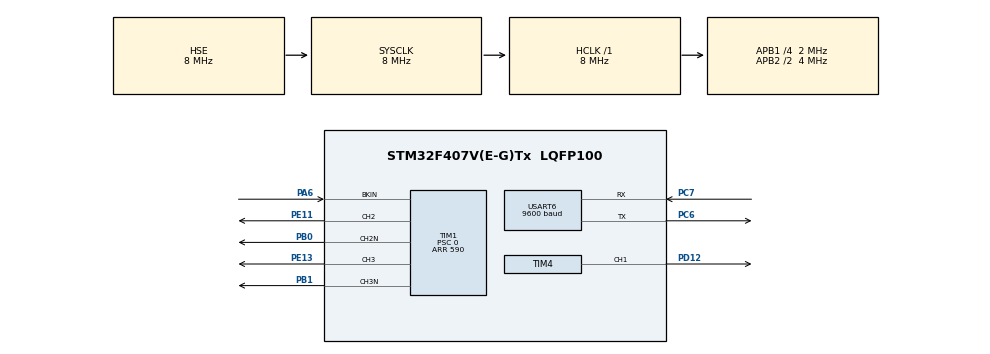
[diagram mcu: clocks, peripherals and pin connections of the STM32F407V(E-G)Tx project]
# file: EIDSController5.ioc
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Mcu.Family=STM32F4
Mcu.Name=STM32F407V(E-G)Tx
Mcu.Package=LQFP100
NVIC.PriorityGroup=NVIC_PRIORITYGROUP_4
NVIC.TIM1_BRK_TIM9_IRQn=true\:0\:0\:false\:false\:true\:true\:true\:true
NVIC.USART6_IRQn=true\:0\:0\:false\:true\:true\:1\:true\:true\:true
PA13.Mode=Serial_Wire
PA13.Signal=SYS_JTMS-SWDIO
PA14.Mode=Serial_Wire
PA14.Signal=SYS_JTCK-SWCLK
PA6.Mode=Activate-Break-Input
PA6.Signal=TIM1_BKIN
PB0.Mode=Output Compare2 CH2 CH2N
PB0.Signal=TIM1_CH2N
PB1.Mode=Output Compare3 CH3 CH3N
PB1.Signal=TIM1_CH3N
PC6.Mode=Asynchronous
PC6.Signal=USART6_TX
PC7.Mode=Asynchronous
PC7.Signal=USART6_RX
PD12.Signal=S_TIM4_CH1
PE11.Signal=S_TIM1_CH2
PE13.Signal=S_TIM1_CH3
PH0-OSC_IN.Mode=HSE-External-Oscillator
PH0-OSC_IN.Signal=RCC_OSC_IN
PH1-OSC_OUT.Mode=HSE-External-Oscillator
PH1-OSC_OUT.Signal=RCC_OSC_OUT
ProjectManager.HeapSize=0x2000
ProjectManager.StackSize=0x4000
ProjectManager.TargetToolchain=STM32CubeIDE
RCC.48MHZClocksFreq_Value=84000000
RCC.AHBFreq_Value=8000000
RCC.APB1CLKDivider=RCC_HCLK_DIV4
RCC.APB1Freq_Value=2000000
RCC.APB1TimFreq_Value=4000000
RCC.APB2CLKDivider=RCC_HCLK_DIV2
RCC.APB2Freq_Value=4000000
RCC.APB2TimFreq_Value=8000000
RCC.CortexFreq_Value=8000000
RCC.HCLKFreq_Value=8000000
RCC.HSE_VALUE=8000000
RCC.HSI_VALUE=16000000
RCC.LSE_VALUE=32768
RCC.PLLM=4
RCC.PLLN=168
RCC.PLLSourceVirtual=RCC_PLLSOURCE_HSE
RCC.SYSCLKFreq_VALUE=8000000
RCC.SYSCLKSource=RCC_SYSCLKSOURCE_HSE
RCC.VCOOutputFreq_Value=336000000
SH.S_TIM1_CH2.0=TIM1_CH2,Output Compare2 CH2 CH2N
SH.S_TIM1_CH3.0=TIM1_CH3,Output Compare3 CH3 CH3N
SH.S_TIM4_CH1.0=TIM4_CH1,PWM Generation1 CH1
TIM1.AutoReloadPreload=TIM_AUTORELOAD_PRELOAD_ENABLE
TIM1.AutomaticOutput=TIM_AUTOMATICOUTPUT_ENABLE
TIM1.BreakPolarity=TIM_BREAKPOLARITY_LOW
TIM1.Channel-Output\ Compare2\ CH2\ CH2N=TIM_CHANNEL_2
TIM1.Channel-Output\ Compare3\ CH3\ CH3N=TIM_CHANNEL_3
TIM1.DeadTime=5
TIM1.OC2Preload=ENABLE
TIM1.OC3Preload=ENABLE
TIM1.OCMode_2=TIM_OCMODE_TOGGLE
TIM1.OCMode_3=TIM_OCMODE_TOGGLE
TIM1.Period=590
TIM1.Prescaler=0
TIM1.Pulse-Output\ Compare2\ CH2\ CH2N=1
TIM1.Pulse-Output\ Compare3\ CH3\ CH3N=1
TIM4.Channel-PWM\ Generation1\ CH1=TIM_CHANNEL_1
TIM4.Period=62499
TIM4.Prescaler=127
TIM4.Pulse-PWM\ Generation1\ CH1=31250
USART6.BaudRate=9600
USART6.VirtualMode=VM_ASYNC
VP_TIM1_VS_ClockSourceINT.Mode=Internal
VP_TIM4_VS_ClockSourceINT.Mode=Internal
board=custom

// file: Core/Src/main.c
/* USER CODE BEGIN Header */
/**
  ******************************************************************************
  * @file           : main.c
  * @brief          : Main program body
  ******************************************************************************
  * @attention
  *
  * Copyright (c) 2022 STMicroelectronics.
  * All rights reserved.
  *
  * This software is licensed under terms that can be found in the LICENSE file
  * in the root directory of this software component.
  * If no LICENSE file comes with this software, it is provided AS-IS.
  *180 derece faz farkı alınabılıyor. simdilik artımsal deger otomatık fakat bunu bır encoder
  *baglanacak
  ******************************************************************************
  */
/* USER CODE END Header */
#include "main.h"
#include <nextion.h>
#include <flash.h>

/* USER CODE BEGIN PTD */
__IO ITStatus UartReady = RESET;
/* USER CODE END PTD */

/* USER CODE BEGIN PD */
#define CMD_FINISHED            (0x01)
#define EVENT_LAUNCHED          (0x88)
#define EVENT_UPGRADED          (0x89)
#define EVENT_TOUCH_HEAD            (0x65)
#define EVENT_POSITION_HEAD         (0x67)
#define EVENT_SLEEP_POSITION_HEAD   (0x68)
#define CURRENT_PAGE_ID_HEAD        (0x66)
#define STRING_HEAD                 (0x70)
#define NUMBER_HEAD                 (0x71)
#define INVALID_CMD             (0x00)
#define INVALID_COMPONENT_ID    (0x02)
#define INVALID_PAGE_ID         (0x03)
#define INVALID_PICTURE_ID      (0x04)
#define INVALID_FONT_ID         (0x05)
#define INVALID_VARIABLE        (0x1A)
#define INVALID_OPERATION       (0x1B)

 //------------------ PAGE --------------------
#define INIT_PAGE       (0x00)

// eıds projesi

#define MAIN_PAGE (0x13)  //19. SAYFA
#define TORQUE_PAGE (0x14)  //20. SAYFA
#define RPM_PAGE (0x15)  //21. SAYFA
#define PARAMETERS_PAGE (0x04)

//------------------ BUTTON --------------------
#define MENU_BUTTON       (0x01)
// AUTOMATIC MANUAL SAYFASI BUTONLARI
#define START_BUTTON      (0x02)
#define STOP_BUTTON       (0x17)
// #define RESET_BUTTON       (0x18)

 // PARAMETERS SAYFASI BUTONLARI
#define DEFAULT_BUTTON    (0x02)//
#define SAVE_BUTTON       (0x03)//
#define LOGOUT_BUTTON       (0x0C)//
//#define CANCEL_BUTTON       (0x02)//

#define RELAY1_BUTTON       (0x08)
#define RELAY2_BUTTON       (0x09)
#define RELAY3_BUTTON       (21)
#define RELAY4_BUTTON       (23)

#define OFFSET_BUTTON       (0x12)//18

// FACTORY_SETTINGS SAYFASI BUTONLARI
#define YES_BUTTON       (0x04)
#define NO_BUTTON       (0x05)

// START SAYFASI

#define PARAMETERS_BUTTON (0x08)

#define MAIN_BUTTON (0x08) // MAIN BUTON EKLENECEK GEREK YOK
#define TORQUE_BUTTON (0x01)
#define RPM_BUTTON (0x02)

#define LOGIN_BUTTON (0x02)
// KOMUTLAR
#define COMMAND_QUIT  (0x01)
#define COMMAND_START (0x02)

/* USER CODE END PD */

TIM_HandleTypeDef htim1;
TIM_HandleTypeDef htim4;

UART_HandleTypeDef huart6;

/* USER CODE BEGIN PV */

//------------------------------ flash adresleri -------------------

uint32_t RPM_Unit_address = 0x08010000;// 1
uint32_t Torque_Unit_address= 0x08010010;// 2
uint32_t Record_address = 0x08010020;//  1

// Flash kayıt parametreleri
uint32_t Fac_RPM_Unit = 1;
uint32_t Fac_Torque_Unit = 2;
uint32_t Fac_Record = 1;//

uint32_t RPM_Unit;
uint32_t Torque_Unit;
uint32_t Record;//

int countReceive;
char CurrentPage;
char CurrentButton;
char CurrentCommand;

char rx_buffer[50];
char reading_buffer[10];

int usartReceiveITEnable;
uint32_t Next_Number_Value = 0 ;

uint16_t torque;
uint16_t rpm;
uint16_t tit;
uint16_t ff;
uint16_t gop;
uint16_t eop;
uint16_t eot;
uint16_t eoq;

int count = 0;
bool nextion_command_ready = false;
bool numberHead = false;

/* USER CODE END PV */

void SystemClock_Config(void);
static void MX_GPIO_Init(void);
static void MX_TIM1_Init(void);
static void MX_TIM4_Init(void);
static void MX_USART6_UART_Init(void);
static void MX_NVIC_Init(void);
/* USER CODE BEGIN PFP */

void Flash_Read_All(void);
void Flash_Write_All(void);
void Factory_Settings_Load(void);

void user_pwm_setValue(uint16_t value);

void Clear_rx_buffer(void);
void HAL_UART_RxCpltCallback(UART_HandleTypeDef *huart);
void nextion_command_control(void);

void FN_MAIN_PAGE(void);
void FN_TORQUE_PAGE(void);
void FN_RPM_PAGE(void);

/* USER CODE END PFP */

/* USER CODE BEGIN 0 */
uint16_t pulse_value =0,periodValue=9999,periodValue2=3333,prescalerValue=3,prescalerValueOld=2;
/*
 * prescalerValue degerim ile 120derecelik açıyı sabit tutuyor ve frekansı gezdiriyorum
 * frekans araalığımı 3-200 hz arasında prescalerValue degerini ise 1-100 aralıgında gezdiriyorum
 *
 */

uint8_t break_falg =0;
uint16_t dead_value =0;
uint16_t pulse2=0,geriSayim=0;
uint32_t deneme=0;

void startPWM(void)
{
	HAL_TIM_OC_Start(&htim1,TIM_CHANNEL_2);			//OC2			enable
	HAL_TIMEx_OCN_Start(&htim1,TIM_CHANNEL_2);	//OC2N		enable

	HAL_TIM_OC_Start(&htim1,TIM_CHANNEL_3);			//OC3			enable
	HAL_TIMEx_OCN_Start(&htim1,TIM_CHANNEL_3);	//OC3N		enable
}

void stopPWM(void)
{
	HAL_TIM_OC_Stop(&htim1,TIM_CHANNEL_2);		//stop pwm output	or user function
	HAL_TIMEx_OCN_Stop(&htim1,TIM_CHANNEL_2);

	HAL_TIM_OC_Stop(&htim1,TIM_CHANNEL_3);
	HAL_TIMEx_OCN_Stop(&htim1,TIM_CHANNEL_3);
}

void pulsePWM(uint16_t pulse)
{

	HAL_Delay(500);

	if(geriSayim==0)
	{
	pulse2++;
	if(pulse2>580)
		{
		geriSayim=1;
		}
	}

	if(geriSayim==1)
	{
		pulse2-=1;//600 oluyor 700de faz takla atıyor.}
		if(pulse2<2){geriSayim=0;}
	}

	//prescalerValue=map(pulse2,0,580,1,100);
	//htim2.Init.Prescaler=prescalerValue;
	//htim3.Init.Prescaler = prescalerValue;
	//htim4.Init.Prescaler = prescalerValue;//64

	//TIM2->PSC=prescalerValue;
	//TIM3->PSC=prescalerValue;
	//TIM4->PSC=prescalerValue;
	//__HAL_TIM_SET_PRESCALER(&htim2,prescalerValue);
	//__HAL_TIM_SET_PRESCALER(&htim3,prescalerValue);
	//__HAL_TIM_SET_PRESCALER(&htim4,prescalerValue);

 if(prescalerValueOld!=prescalerValue)
 {

	  prescalerValueOld=prescalerValue;

	 // HAL_TIM_PWM_Start(&htim2, TIM_CHANNEL_1);
	 // HAL_TIM_OC_Start(&htim2, TIM_CHANNEL_2);
	 // HAL_TIM_PWM_Start(&htim3, TIM_CHANNEL_1);
	 // HAL_TIM_OC_Start(&htim3, TIM_CHANNEL_2);
    // HAL_TIM_PWM_Start(&htim4, TIM_CHANNEL_1);

	//HAL_TIM_PWM_Stop(&htim2, TIM_CHANNEL_1);
	//HAL_TIM_PWM_Stop(&htim3, TIM_CHANNEL_1);
	//HAL_TIM_PWM_Stop(&htim4, TIM_CHANNEL_1);

	 //TIM2->PSC &= 0xFF00;
	// TIM3->PSC &= 0xFF00;
	 //TIM4->PSC &= 0xFF00;

	 // MX_TIM2_Init();
	 // MX_TIM3_Init();
	 // MX_TIM4_Init();

	// TIM2->PSC=prescalerValue;
	// TIM3->PSC=prescalerValue;
	// TIM4->PSC=prescalerValue;

	//HAL_TIM_PWM_Start(&htim2, TIM_CHANNEL_1);
	//HAL_TIM_OC_Start(&htim2, TIM_CHANNEL_2);

	//HAL_TIM_PWM_Start(&htim3, TIM_CHANNEL_1);
	//HAL_TIM_OC_Start(&htim3, TIM_CHANNEL_2);

	//HAL_TIM_PWM_Start(&htim4, TIM_CHANNEL_1);
 }
	 //map(x, in_min, in_max, out_min, out_max)

	__HAL_TIM_SET_COMPARE(&htim1, TIM_CHANNEL_3, pulse2);//pulse fazın kaydırılgı yer.
}

void deadTimePWM(uint16_t dtime)
{
	/* Set TIMx_BDTR	->	DTG data	*/
	TIM1->BDTR &= 0xFF00;							//clear	DTG data
	TIM1->BDTR |= (dtime & 0x00FF);	//dtime       	//set	DTG data
}

uint16_t pwm_value=0,step=1;
uint16_t arrValue=0;
uint16_t preScalar=0,prePulse=0;
long  freqValue=8000000;
long map(long x,long in_min,long in_max,long out_min,long out_max)
{
return (x-in_min)*(out_max-out_min)/(in_max-in_min)+out_min;
//map(value,fromLow,fromHigh,toLow,toHigh);//yapıyı burda actım.
}
uint32_t Constrain(uint32_t au32_IN, uint32_t au32_MIN, uint32_t au32_MAX)
{
	if(au32_IN < au32_MIN)
	{
		return au32_MIN;
	}
	else if (au32_IN > au32_MAX)
	{
		return au32_MAX;
	}
	else
	{
		return au32_IN;
	}
}
/* USER CODE END 0 */

int main(void)
{

  /* MCU Configuration--------------------------------------------------------*/

  /* Reset of all peripherals, Initializes the Flash interface and the Systick. */
  HAL_Init();

  /* Configure the system clock */
  SystemClock_Config();

  /* Initialize all configured peripherals */
  MX_GPIO_Init();
  MX_TIM1_Init();
  MX_TIM4_Init();
  MX_USART6_UART_Init();

  /* Initialize interrupts */
  MX_NVIC_Init();
  /* USER CODE BEGIN 2 */
  __HAL_TIM_ENABLE(&htim1);										//TIM1		enable
  	startPWM();
  __HAL_TIM_ENABLE_IT(&htim1, TIM_IT_BREAK);	//break interrupt enable
  HAL_TIM_PWM_Start(&htim4, TIM_CHANNEL_1);

   Flash_Read_All();

   if(Record!=1)// boşta değeri 1 den farklı oluyor
   	{

   	// flash yazma işlemi tamam
	   Flash_Write_All();
		HAL_Delay(100);
		Flash_Read_All();
   	}

   HAL_Delay(100);
	CurrentPage = INIT_PAGE;
  	Nextion_Page(INIT_PAGE);
  	HAL_Delay(2000);
  	//BAsLANGIÇ SAYFASINA YÖNLENDİR
	HAL_Delay(100);
  	CurrentPage = MAIN_PAGE;

	HAL_UART_Receive_IT (&huart6, (uint8_t *)reading_buffer, 1);
  /* USER CODE END 2 */

  /* Infinite loop */
  /* USER CODE BEGIN WHILE */
  while (1)
  {
	    if (CurrentPage == MAIN_PAGE) {
			Nextion_Page(MAIN_PAGE);
			FN_MAIN_PAGE();//5
		} else if (CurrentPage == TORQUE_PAGE) {
			Nextion_Page(TORQUE_PAGE);
			FN_TORQUE_PAGE();//5
		} else if (CurrentPage == RPM_PAGE) {
			Nextion_Page(RPM_PAGE);
			FN_RPM_PAGE();//5
		}

    /* USER CODE END WHILE */

  }
}

void SystemClock_Config(void)
{
  RCC_OscInitTypeDef RCC_OscInitStruct = {0};
  RCC_ClkInitTypeDef RCC_ClkInitStruct = {0};

  /** Configure the main internal regulator output voltage
  */
  __HAL_RCC_PWR_CLK_ENABLE();
  __HAL_PWR_VOLTAGESCALING_CONFIG(PWR_REGULATOR_VOLTAGE_SCALE1);

  /** Initializes the RCC Oscillators according to the specified parameters
  * in the RCC_OscInitTypeDef structure.
  */
  RCC_OscInitStruct.OscillatorType = RCC_OSCILLATORTYPE_HSE;
  RCC_OscInitStruct.HSEState = RCC_HSE_ON;
  RCC_OscInitStruct.PLL.PLLState = RCC_PLL_NONE;
  if (HAL_RCC_OscConfig(&RCC_OscInitStruct) != HAL_OK)
  {
    Error_Handler();
  }

  /** Initializes the CPU, AHB and APB buses clocks
  */
  RCC_ClkInitStruct.ClockType = RCC_CLOCKTYPE_HCLK|RCC_CLOCKTYPE_SYSCLK
                              |RCC_CLOCKTYPE_PCLK1|RCC_CLOCKTYPE_PCLK2;
  RCC_ClkInitStruct.SYSCLKSource = RCC_SYSCLKSOURCE_HSE;
  RCC_ClkInitStruct.AHBCLKDivider = RCC_SYSCLK_DIV1;
  RCC_ClkInitStruct.APB1CLKDivider = RCC_HCLK_DIV4;
  RCC_ClkInitStruct.APB2CLKDivider = RCC_HCLK_DIV2;

  if (HAL_RCC_ClockConfig(&RCC_ClkInitStruct, FLASH_LATENCY_0) != HAL_OK)
  {
    Error_Handler();
  }
}

/**
  * @brief NVIC Configuration.
  * @retval None
  */
static void MX_NVIC_Init(void)
{
  /* USART6_IRQn interrupt configuration */
  HAL_NVIC_SetPriority(USART6_IRQn, 0, 0);
  HAL_NVIC_EnableIRQ(USART6_IRQn);
}

static void MX_TIM1_Init(void)
{

  TIM_ClockConfigTypeDef sClockSourceConfig = {0};
  TIM_MasterConfigTypeDef sMasterConfig = {0};
  TIM_OC_InitTypeDef sConfigOC = {0};
  TIM_BreakDeadTimeConfigTypeDef sBreakDeadTimeConfig = {0};

  htim1.Instance = TIM1;
  htim1.Init.Prescaler = 0;
  htim1.Init.CounterMode = TIM_COUNTERMODE_UP;
  htim1.Init.Period = 590;
  htim1.Init.ClockDivision = TIM_CLOCKDIVISION_DIV1;
  htim1.Init.RepetitionCounter = 0;
  htim1.Init.AutoReloadPreload = TIM_AUTORELOAD_PRELOAD_ENABLE;
  if (HAL_TIM_Base_Init(&htim1) != HAL_OK)
  {
    Error_Handler();
  }
  sClockSourceConfig.ClockSource = TIM_CLOCKSOURCE_INTERNAL;
  if (HAL_TIM_ConfigClockSource(&htim1, &sClockSourceConfig) != HAL_OK)
  {
    Error_Handler();
  }
  if (HAL_TIM_OC_Init(&htim1) != HAL_OK)
  {
    Error_Handler();
  }
  sMasterConfig.MasterOutputTrigger = TIM_TRGO_RESET;
  sMasterConfig.MasterSlaveMode = TIM_MASTERSLAVEMODE_DISABLE;
  if (HAL_TIMEx_MasterConfigSynchronization(&htim1, &sMasterConfig) != HAL_OK)
  {
    Error_Handler();
  }
  sConfigOC.OCMode = TIM_OCMODE_TOGGLE;
  sConfigOC.Pulse = 1;
  sConfigOC.OCPolarity = TIM_OCPOLARITY_HIGH;
  sConfigOC.OCNPolarity = TIM_OCNPOLARITY_HIGH;
  sConfigOC.OCFastMode = TIM_OCFAST_DISABLE;
  sConfigOC.OCIdleState = TIM_OCIDLESTATE_RESET;
  sConfigOC.OCNIdleState = TIM_OCNIDLESTATE_RESET;
  if (HAL_TIM_OC_ConfigChannel(&htim1, &sConfigOC, TIM_CHANNEL_2) != HAL_OK)
  {
    Error_Handler();
  }
  __HAL_TIM_ENABLE_OCxPRELOAD(&htim1, TIM_CHANNEL_2);
  if (HAL_TIM_OC_ConfigChannel(&htim1, &sConfigOC, TIM_CHANNEL_3) != HAL_OK)
  {
    Error_Handler();
  }
  __HAL_TIM_ENABLE_OCxPRELOAD(&htim1, TIM_CHANNEL_3);
  sBreakDeadTimeConfig.OffStateRunMode = TIM_OSSR_DISABLE;
  sBreakDeadTimeConfig.OffStateIDLEMode = TIM_OSSI_DISABLE;
  sBreakDeadTimeConfig.LockLevel = TIM_LOCKLEVEL_OFF;
  sBreakDeadTimeConfig.DeadTime = 5;
  sBreakDeadTimeConfig.BreakState = TIM_BREAK_ENABLE;
  sBreakDeadTimeConfig.BreakPolarity = TIM_BREAKPOLARITY_LOW;
  sBreakDeadTimeConfig.AutomaticOutput = TIM_AUTOMATICOUTPUT_ENABLE;
  if (HAL_TIMEx_ConfigBreakDeadTime(&htim1, &sBreakDeadTimeConfig) != HAL_OK)
  {
    Error_Handler();
  }
  HAL_TIM_MspPostInit(&htim1);

}

static void MX_TIM4_Init(void)
{

  TIM_ClockConfigTypeDef sClockSourceConfig = {0};
  TIM_MasterConfigTypeDef sMasterConfig = {0};
  TIM_OC_InitTypeDef sConfigOC = {0};

  htim4.Instance = TIM4;
  htim4.Init.Prescaler = 127;
  htim4.Init.CounterMode = TIM_COUNTERMODE_UP;
  htim4.Init.Period = 62499;
  htim4.Init.ClockDivision = TIM_CLOCKDIVISION_DIV1;
  htim4.Init.AutoReloadPreload = TIM_AUTORELOAD_PRELOAD_DISABLE;
  if (HAL_TIM_Base_Init(&htim4) != HAL_OK)
  {
    Error_Handler();
  }
  sClockSourceConfig.ClockSource = TIM_CLOCKSOURCE_INTERNAL;
  if (HAL_TIM_ConfigClockSource(&htim4, &sClockSourceConfig) != HAL_OK)
  {
    Error_Handler();
  }
  if (HAL_TIM_PWM_Init(&htim4) != HAL_OK)
  {
    Error_Handler();
  }
  sMasterConfig.MasterOutputTrigger = TIM_TRGO_RESET;
  sMasterConfig.MasterSlaveMode = TIM_MASTERSLAVEMODE_DISABLE;
  if (HAL_TIMEx_MasterConfigSynchronization(&htim4, &sMasterConfig) != HAL_OK)
  {
    Error_Handler();
  }
  sConfigOC.OCMode = TIM_OCMODE_PWM1;
  sConfigOC.Pulse = 31250;
  sConfigOC.OCPolarity = TIM_OCPOLARITY_HIGH;
  sConfigOC.OCFastMode = TIM_OCFAST_DISABLE;
  if (HAL_TIM_PWM_ConfigChannel(&htim4, &sConfigOC, TIM_CHANNEL_1) != HAL_OK)
  {
    Error_Handler();
  }
  HAL_TIM_MspPostInit(&htim4);

}

static void MX_USART6_UART_Init(void)
{

  huart6.Instance = USART6;
  huart6.Init.BaudRate = 9600;
  huart6.Init.WordLength = UART_WORDLENGTH_8B;
  huart6.Init.StopBits = UART_STOPBITS_1;
  huart6.Init.Parity = UART_PARITY_NONE;
  huart6.Init.Mode = UART_MODE_TX_RX;
  huart6.Init.HwFlowCtl = UART_HWCONTROL_NONE;
  huart6.Init.OverSampling = UART_OVERSAMPLING_16;
  if (HAL_UART_Init(&huart6) != HAL_OK)
  {
    Error_Handler();
  }

}

static void MX_GPIO_Init(void)
{

  /* GPIO Ports Clock Enable */
  __HAL_RCC_GPIOH_CLK_ENABLE();
  __HAL_RCC_GPIOA_CLK_ENABLE();
  __HAL_RCC_GPIOB_CLK_ENABLE();
  __HAL_RCC_GPIOE_CLK_ENABLE();
  __HAL_RCC_GPIOD_CLK_ENABLE();
  __HAL_RCC_GPIOC_CLK_ENABLE();

}

/* USER CODE BEGIN 4 */

void Flash_Write_All()
{
	Flash_Unlock();
	Flash_Erase();

	Flash_Write(RPM_Unit_address, RPM_Unit);
	Flash_Write(Torque_Unit_address, Torque_Unit);
	Flash_Write(Record_address, 1);

	Flash_Lock();
}

void Factory_Settings_Load()
{
	 RPM_Unit = Fac_RPM_Unit;
	 Torque_Unit = Fac_Torque_Unit;
	 Record = Fac_Record;//
}

void Nextion_Settings_Load()
{
}

void Flash_Read_All()
{
	RPM_Unit = Flash_Read(RPM_Unit_address);
	Torque_Unit = Flash_Read(Torque_Unit_address);
	Record = Flash_Read(Record_address);
}

void HAL_TIMEx_BreakCallback(TIM_HandleTypeDef *htim)
{
	if(htim->Instance == TIM1)		//need modify
	{
		stopPWM();									//stop pwm output	or user function
		break_falg = 1;
	}
}

void FN_MAIN_PAGE(void)
{
	while (CurrentPage == MAIN_PAGE) {
		pulsePWM(pulse_value);	//user function set
			//dead_value++;
			deadTimePWM(dead_value);

			if(break_falg == 1)			//user function set
			{
				break_falg = 0;				//clear falg
				startPWM();
			}

		   HAL_Delay(1000);
		   step++;//hz degerimi belirleyecek olan degişken
		   step=Constrain(step, 1, 5000);
		   arrValue=((freqValue/step)/128);

		   //arrValue=map(arrValue, 0, 31250, 0, 62499);
		   prePulse=map(arrValue, 0, 62499, 0, 31250);

		   TIM4->ARR=arrValue;
		   TIM4->CCR1=prePulse;

		   Nextion_Set_Value("torque", torque);
		   Nextion_Set_Value("rpm", rpm);
		   Nextion_Set_Value("tit", tit);
		   Nextion_Set_Value("ff", ff);
		   Nextion_Set_Value("gop", gop);
		   Nextion_Set_Value("eop", eop);
		   Nextion_Set_Value("eot", eot);
		   Nextion_Set_Value("eoq", eoq);
	}

}
void FN_TORQUE_PAGE(void)
{
	CurrentButton = 0;
	if (CurrentPage == TORQUE_PAGE)
		{
			HAL_Delay(500);

			if(Torque_Unit == 0)
			 {
				Nextion_Set_Value("c0", 1);
				Nextion_Set_Value("c1", 0);
				Nextion_Set_Value("c2", 0);
				Nextion_Set_Value("c3", 0);
				Nextion_Set_Value("c4", 0);
				Nextion_Set_Value("c5", 0);

			 }else if(Torque_Unit == 1)
			 {
				Nextion_Set_Value("c0", 0);
				Nextion_Set_Value("c1", 1);
				Nextion_Set_Value("c2", 0);
				Nextion_Set_Value("c3", 0);
				Nextion_Set_Value("c4", 0);
				Nextion_Set_Value("c5", 0);

			 }else if(Torque_Unit == 2)
			 {
				Nextion_Set_Value("c0", 0);
				Nextion_Set_Value("c1", 0);
				Nextion_Set_Value("c2", 1);
				Nextion_Set_Value("c3", 0);
				Nextion_Set_Value("c4", 0);
				Nextion_Set_Value("c5", 0);
			 }

			  if(Torque_Unit == 3)
			 {
				Nextion_Set_Value("c0", 0);
				Nextion_Set_Value("c1", 0);
				Nextion_Set_Value("c2", 0);
				Nextion_Set_Value("c3", 1);
				Nextion_Set_Value("c4", 0);
				Nextion_Set_Value("c5", 0);

			 }else if(Torque_Unit == 4)
			 {
				Nextion_Set_Value("c0", 0);
				Nextion_Set_Value("c1", 0);
				Nextion_Set_Value("c2", 0);
				Nextion_Set_Value("c3", 0);
				Nextion_Set_Value("c4", 1);
				Nextion_Set_Value("c5", 0);

			 }else if(Torque_Unit == 5)
			 {
				Nextion_Set_Value("c0", 0);
				Nextion_Set_Value("c1", 0);
				Nextion_Set_Value("c2", 0);
				Nextion_Set_Value("c3", 0);
				Nextion_Set_Value("c4", 0);
				Nextion_Set_Value("c5", 1);
			 }

			  while(CurrentPage == TORQUE_PAGE){

				HAL_Delay(300);

				if (CurrentButton == DEFAULT_BUTTON) //
				{

				Nextion_Set_Value("c0", 1);
				Nextion_Set_Value("c1", 0);
				Nextion_Set_Value("c2", 0);
				Nextion_Set_Value("c3", 0);
				Nextion_Set_Value("c4", 0);
				Nextion_Set_Value("c5", 0);

				Torque_Unit = Fac_Torque_Unit;

				Flash_Write_All();
				HAL_Delay(100);
				Flash_Read_All();
				CurrentButton = 0;

				}
				else if (CurrentButton == SAVE_BUTTON) //
				{

				Nextion_Send_Command("tsw 255,0");
				HAL_Delay(200);
				Nextion_Get_Value("c0");
				HAL_Delay(200);
				uint8_t c0 = Next_Number_Value;

				Nextion_Get_Value("c1");
				HAL_Delay(200);
				uint8_t c1 = Next_Number_Value;

				Nextion_Get_Value("c2");
				HAL_Delay(200);
				uint8_t c2 = Next_Number_Value;

				Nextion_Get_Value("c3");
				HAL_Delay(200);
				uint8_t c3 = Next_Number_Value;

				Nextion_Get_Value("c4");
				HAL_Delay(200);
				uint8_t c4 = Next_Number_Value;

				Nextion_Get_Value("c5");
				HAL_Delay(200);
				uint8_t c5 = Next_Number_Value;

				if(c0 == 1)
				{
					Torque_Unit = 0;
				}
				else if(c1 == 1)
				{
					Torque_Unit = 1;
				}
				else if(c2 == 1)
				{
					Torque_Unit = 2;
				}else if(c3 == 1)
				{
					Torque_Unit = 3;
				}
				else if(c4 == 1)
				{
					Torque_Unit = 4;
				}
				else if(c5 == 1)
				{
					Torque_Unit = 5;
				}
				Flash_Write_All();
				HAL_Delay(100);
				Flash_Read_All();
				Nextion_Send_Command("tsw 255,255");
				CurrentButton = 0;

				}
				else if (CurrentButton == 0)
				{
				}
			  }
		}else {
		}

}
void FN_RPM_PAGE(void)
{
	CurrentButton = 0;
	if (CurrentPage == RPM_PAGE)
			{
				HAL_Delay(500);

				if(RPM_Unit == 0)
				 {
					Nextion_Set_Value("c0", 1);
					Nextion_Set_Value("c1", 0);
					Nextion_Set_Value("c2", 0);
					Nextion_Set_Value("c3", 0);
					Nextion_Set_Value("c4", 0);
					Nextion_Set_Value("c5", 0);

				 }else if(RPM_Unit == 1)
				 {
					Nextion_Set_Value("c0", 0);
					Nextion_Set_Value("c1", 1);
					Nextion_Set_Value("c2", 0);
					Nextion_Set_Value("c3", 0);
					Nextion_Set_Value("c4", 0);
					Nextion_Set_Value("c5", 0);

				 }else if(RPM_Unit == 2)
				 {
					Nextion_Set_Value("c0", 0);
					Nextion_Set_Value("c1", 0);
					Nextion_Set_Value("c2", 1);
					Nextion_Set_Value("c3", 0);
					Nextion_Set_Value("c4", 0);
					Nextion_Set_Value("c5", 0);
				 }

				  if(RPM_Unit == 3)
				 {
					Nextion_Set_Value("c0", 0);
					Nextion_Set_Value("c1", 0);
					Nextion_Set_Value("c2", 0);
					Nextion_Set_Value("c3", 1);
					Nextion_Set_Value("c4", 0);
					Nextion_Set_Value("c5", 0);

				 }else if(RPM_Unit == 4)
				 {
					Nextion_Set_Value("c0", 0);
					Nextion_Set_Value("c1", 0);
					Nextion_Set_Value("c2", 0);
					Nextion_Set_Value("c3", 0);
					Nextion_Set_Value("c4", 1);
					Nextion_Set_Value("c5", 0);

				 }else if(RPM_Unit == 5)
				 {
					Nextion_Set_Value("c0", 0);
					Nextion_Set_Value("c1", 0);
					Nextion_Set_Value("c2", 0);
					Nextion_Set_Value("c3", 0);
					Nextion_Set_Value("c4", 0);
					Nextion_Set_Value("c5", 1);
				 }

				  while(CurrentPage == RPM_PAGE){

					HAL_Delay(300);

					if (CurrentButton == DEFAULT_BUTTON) //
					{

					Nextion_Set_Value("c0", 1);
					Nextion_Set_Value("c1", 0);
					Nextion_Set_Value("c2", 0);
					Nextion_Set_Value("c3", 0);
					Nextion_Set_Value("c4", 0);
					Nextion_Set_Value("c5", 0);

					RPM_Unit = Fac_RPM_Unit;

					Flash_Write_All();
					HAL_Delay(100);
					Flash_Read_All();
					CurrentButton = 0;

					}
					else if (CurrentButton == SAVE_BUTTON) //
					{
					Nextion_Send_Command("tsw 255,0");
					HAL_Delay(200);
					Nextion_Get_Value("c0");
					HAL_Delay(200);
					uint8_t c0 = Next_Number_Value;

					Nextion_Get_Value("c1");
					HAL_Delay(200);
					uint8_t c1 = Next_Number_Value;

					Nextion_Get_Value("c2");
					HAL_Delay(200);
					uint8_t c2 = Next_Number_Value;

					Nextion_Get_Value("c3");
					HAL_Delay(200);
					uint8_t c3 = Next_Number_Value;

					Nextion_Get_Value("c4");
					HAL_Delay(200);
					uint8_t c4 = Next_Number_Value;

					Nextion_Get_Value("c5");
					HAL_Delay(200);
					uint8_t c5 = Next_Number_Value;

					if(c0 == 1)
					{
						RPM_Unit = 0;
					}
					else if(c1 == 1)
					{
						RPM_Unit = 1;
					}
					else if(c2 == 1)
					{
						RPM_Unit = 2;
					}else if(c3 == 1)
					{
						RPM_Unit = 3;
					}
					else if(c4 == 1)
					{
						RPM_Unit = 4;
					}
					else if(c5 == 1)
					{
						RPM_Unit = 5;
					}
					Flash_Write_All();
					HAL_Delay(100);
					Flash_Read_All();
					Nextion_Send_Command("tsw 255,255");
					CurrentButton = 0;

					}
					else if (CurrentButton == 0)
					{
					}
				  }
			}else {
			}

}

void Clear_rx_buffer(void)
{
	for(int i = 0; i < 50; i++)
	  	  rx_buffer[i] = '\0';
}

void nextion_command_control()
{
	if (rx_buffer[0] == EVENT_TOUCH_HEAD) { // 0X65 BUTON

		if (rx_buffer[1] == INIT_PAGE) {
		}else if (rx_buffer[1] == MAIN_PAGE) {
			if (rx_buffer[2] == TORQUE_BUTTON) {
				CurrentPage = TORQUE_PAGE;
				CurrentButton = TORQUE_BUTTON;
			}else if (rx_buffer[2] == RPM_BUTTON) {
				CurrentPage = RPM_PAGE;
				CurrentButton = RPM_BUTTON;
			}
		}else if (rx_buffer[1] == TORQUE_PAGE) {
			if (rx_buffer[2] == MENU_BUTTON) {
				 CurrentPage = MAIN_PAGE;
			}else if (rx_buffer[2] == DEFAULT_BUTTON) {
				 CurrentButton = DEFAULT_BUTTON;
			}else if (rx_buffer[2] == SAVE_BUTTON) {
				 CurrentButton = SAVE_BUTTON;
			}

		}else if (rx_buffer[1] == RPM_PAGE) {
			if (rx_buffer[2] == MENU_BUTTON) {
				CurrentPage = MAIN_PAGE;
			}else if (rx_buffer[2] == DEFAULT_BUTTON) {
				 CurrentButton = DEFAULT_BUTTON;
			}else if (rx_buffer[2] == SAVE_BUTTON) {
				 CurrentButton = SAVE_BUTTON;
			}
		}

	}else if (rx_buffer[0] == STRING_HEAD) {
	}else if (rx_buffer[0] == NUMBER_HEAD) {
		numberHead=true;
		if (rx_buffer[0] == NUMBER_HEAD
				&& rx_buffer[5] == 0xFF
				&& rx_buffer[6] == 0xFF
				&& rx_buffer[7] == 0xFF
		){
			Next_Number_Value = (rx_buffer[4] << 24) | (rx_buffer[3] << 16) | (rx_buffer[2] << 8) | (rx_buffer[1]);
		}
	}else if (rx_buffer[0] == CMD_FINISHED) {
	}else if (rx_buffer[0] == INVALID_CMD) {
	}else if (rx_buffer[0] == INVALID_VARIABLE) {
	}else {
	}

}

void HAL_UART_ErrorCallback(UART_HandleTypeDef *huart)
{

	//HAL_UART_Receive_IT (&huart6, (uint8_t *)reading_buffer, 1);
}

void HAL_UART_RxCpltCallback(UART_HandleTypeDef *huart)
{
	if(huart->Instance == USART6 ){
		rx_buffer[count] = reading_buffer[0];
		if (rx_buffer[count] == 0xff) {
			if (rx_buffer[count-1] == 0xff) {
				if (rx_buffer[count-2] == 0xff) {
					count=0;
					countReceive=0;
					nextion_command_ready = true;
				}else {
					count++;
				}
			}else {
				count++;
			}
		}else {
			count++;
		}
	}

	if(huart->Instance == USART6 && nextion_command_ready == true){
		__HAL_UART_DISABLE_IT(&huart6, UART_IT_RXNE);
			UartReady = RESET;
			nextion_command_control();
		usartReceiveITEnable = 0;
		nextion_command_ready = false;
		Clear_rx_buffer();

		//__NOP();
		__HAL_UART_ENABLE_IT(&huart6, UART_IT_RXNE);
		UartReady = SET;
	}

	/*
	* buffer 7 den fazla ise ne yapılacak
	*  buffer 7 önemli gelen verinin boyutunu veriyor
	* nextion buton verileri 7 hex ten oluşuyor
	* 65 01 08 00 FF FF FF
	* 65 buton
	* 01 sayfa
	* 08 component id
	* 00 bilgi
	* ff bitiş kodları
	* ff bitiş kodları
	* ff bitiş kodları
	*/
	//Clear_rx_buffer();
	//HAL_UART_Receive_IT (&huart3, rx_buffer, 7);
	HAL_UART_Receive_IT (&huart6, (uint8_t *)reading_buffer, 1);
}

/* USER CODE END 4 */

void Error_Handler(void)
{
  __disable_irq();
  while (1)
  {
  }
}
